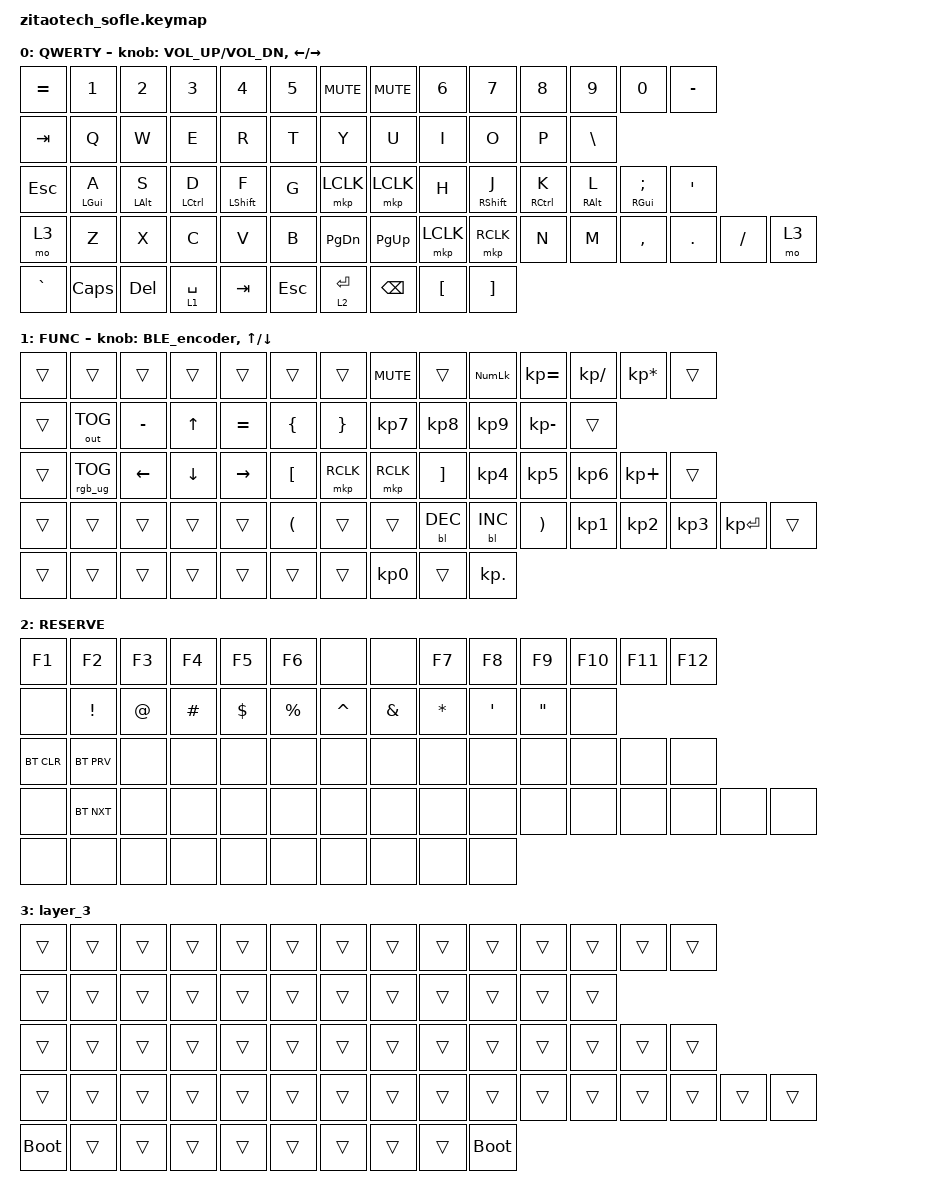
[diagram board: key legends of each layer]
/*
 * Copyright (c) 2025 ZitaoTech
 *
 * SPDX-License-Identifier: MIT
 */

#include <dt-bindings/zmk/mouse.h>
#include <behaviors.dtsi>
#include <dt-bindings/zmk/backlight.h>
#include <dt-bindings/zmk/bt.h>
#include <dt-bindings/zmk/keys.h>
#include <dt-bindings/zmk/outputs.h>
#include <dt-bindings/zmk/pointing.h>
#include <dt-bindings/zmk/rgb.h>

#define FUNC 1
#define RES 2
#define BOT bootloader

/ {
    behaviors {
        td0: tap_dance_0 {
            compatible = "zmk,behavior-tap-dance";
            #binding-cells = <0>;
            tapping-term-ms = <400>;
            bindings = <&mkp LCLK>, <&bt BT_CLR>;
        };
    };

    behaviors {
        hm: homerow_mods {
            compatible = "zmk,behavior-hold-tap";
            #binding-cells = <2>;
            tapping-term-ms = <500>;
            bindings = <&kp &kp>;
        };
    };

    behaviors {
        sp_sc: behavior_spacescroll {
            compatible = "zmk,behavior-hold-tap";
            #binding-cells = <2>;
            flavor = "tap-preferred";     /* 单击优先 */
            tapping-term-ms = <200>;       /* 长按阈值 */
            bindings = <&none &kp>;        /* hold=none, tap=space */
        };
    };

    behaviors {
        BLE_encoder: BLE_encoder {
            compatible = "zmk,behavior-sensor-rotate";
            #sensor-binding-cells = <0>;
            bindings = <&bt BT_NXT>, <&bt BT_PRV>;
        };
    };

    keymap {
        compatible = "zmk,keymap";

        default_layer {
            display-name = "QWERTY";
            bindings = <
&kp EQUAL   &kp N1          &kp N2          &kp N3              &kp N4            &kp N5      &kp C_MUTE   &kp C_MUTE     &kp N6            &kp N7             &kp N8               &kp N9           &kp N0              &kp MINUS
&kp TAB     &kp Q           &kp W           &kp E               &kp R             &kp T       &kp Y        &kp U          &kp I             &kp O              &kp P                &kp BACKSLASH
&kp ESCAPE  &mt LEFT_GUI A  &mt LEFT_ALT S  &mt LEFT_CONTROL D  &mt LEFT_SHIFT F  &kp G       &mkp LCLK    &mkp LCLK      &kp H             &mt RIGHT_SHIFT J  &mt RIGHT_CONTROL K  &mt RIGHT_ALT L  &mt RIGHT_GUI SEMI  &kp SQT
&mo 3       &kp Z           &kp X           &kp C               &kp V             &kp B       &kp PG_DN    &kp PG_UP      &mkp LCLK         &mkp RCLK          &kp N                &kp M            &kp COMMA           &kp DOT    &kp FSLH  &mo 3
&kp GRAVE   &kp CAPSLOCK    &kp DELETE      &lt 1 SPACE         &kp TAB           &kp ESCAPE  &lt 2 ENTER  &kp BACKSPACE  &kp LEFT_BRACKET  &kp RIGHT_BRACKET
            >;

            sensor-bindings = <&inc_dec_kp C_VOL_UP C_VOL_DN &inc_dec_kp LEFT RIGHT>;
        };

        func_layer {
            display-name = "FUNC";
            bindings = <
&trans  &trans           &trans          &trans          &trans           &trans                &trans           &kp C_MUTE  &trans             &kp KP_NUM       &kp KP_EQUAL           &kp KP_SLASH     &kp KP_MULTIPLY  &trans
&trans  &out OUT_TOG     &kp MINUS       &kp UP_ARROW    &kp EQUAL        &kp LEFT_BRACE        &kp RIGHT_BRACE  &kp KP_N7   &kp KP_N8          &kp KP_NUMBER_9  &kp KP_MINUS           &trans
&trans  &rgb_ug RGB_TOG  &kp LEFT_ARROW  &kp DOWN_ARROW  &kp RIGHT_ARROW  &kp LEFT_BRACKET      &mkp RCLK        &mkp RCLK   &kp RIGHT_BRACKET  &kp KP_N4        &kp KP_N5              &kp KP_N6        &kp KP_PLUS      &trans
&trans  &trans           &trans          &trans          &trans           &kp LEFT_PARENTHESIS  &trans           &trans      &bl BL_DEC         &bl BL_INC       &kp RIGHT_PARENTHESIS  &kp KP_NUMBER_1  &kp KP_N2        &kp KP_N3  &kp KP_ENTER  &trans
&trans  &trans           &trans          &trans          &trans           &trans                &trans           &kp KP_N0   &trans             &kp KP_DOT
            >;

            sensor-bindings = <&BLE_encoder &inc_dec_kp UP DOWN>;
        };

        RES_layer {
            display-name = "RESERVE";
            bindings = <
&kp F1      &kp F2           &kp F3       &kp F4    &kp F5      &kp F6       &none      &none     &kp F7        &kp F8            &kp F9             &kp F10  &kp F11  &kp F12
&none       &kp EXCLAMATION  &kp AT_SIGN  &kp HASH  &kp DOLLAR  &kp PERCENT  &kp CARET  &kp AMPS  &kp ASTERISK  &kp SINGLE_QUOTE  &kp DOUBLE_QUOTES  &none
&bt BT_CLR  &bt BT_PRV       &none        &none     &none       &none        &none      &none     &none         &none             &none              &none    &none    &none
&none       &bt BT_NXT       &none        &none     &none       &none        &none      &none     &none         &none             &none              &none    &none    &none    &none  &none
&none       &none            &none        &none     &none       &none        &none      &none     &none         &none
            >;
        };

        layer_3 {
            bindings = <
&trans       &trans  &trans  &trans  &trans  &trans  &trans  &trans  &trans  &trans       &trans  &trans  &trans  &trans
&trans       &trans  &trans  &trans  &trans  &trans  &trans  &trans  &trans  &trans       &trans  &trans
&trans       &trans  &trans  &trans  &trans  &trans  &trans  &trans  &trans  &trans       &trans  &trans  &trans  &trans
&trans       &trans  &trans  &trans  &trans  &trans  &trans  &trans  &trans  &trans       &trans  &trans  &trans  &trans  &trans  &trans
&bootloader  &trans  &trans  &trans  &trans  &trans  &trans  &trans  &trans  &bootloader
            >;
        };
    };
};
